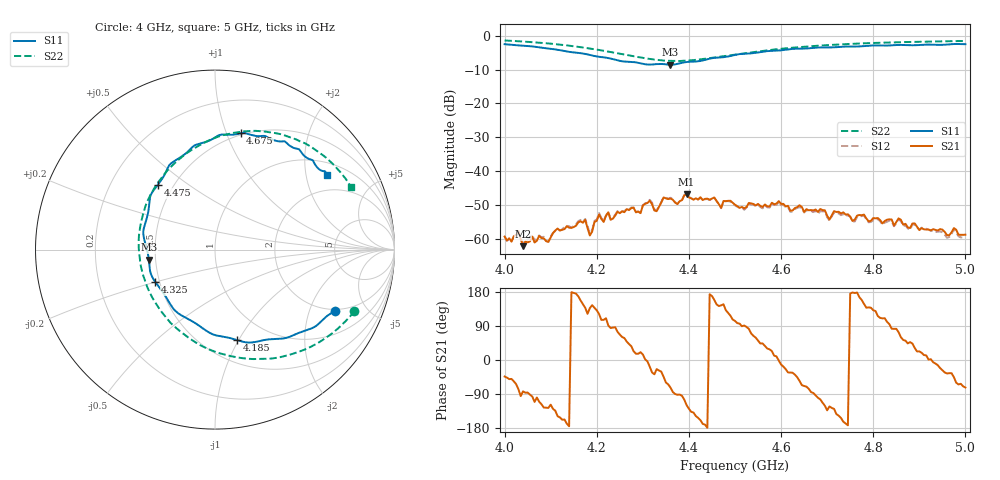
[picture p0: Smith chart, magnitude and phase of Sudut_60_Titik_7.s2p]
# Hz S RI R 50
! CMT, C1220, 16058040, 17.2.0/1
! Date: 15/08/2018 12:01:00
! Data: Format (Calibration Info)
! Freq  S11: Re/Im (F2)  S21: Re/Im (F2)  S12: Re/Im (F2)  S22: Re/Im (F2)
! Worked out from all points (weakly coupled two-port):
!   201 points, 4 GHz to 5 GHz, reference 50 ohm
!   highest |S21| = -46.77 dB at 4.395 GHz (marker M1); lowest = -62.1 dB at 4.04 GHz (marker M2)
!   lowest |S11| = -8.6 dB at 4.36 GHz (marker M3), VSWR 2.19, Z = 23 - j2.97 ohm
!   |S11| at or under -10 dB: nowhere
!   |S22| runs from -7.5 to -1.4 dB; largest |S21 - S12| = 0.00021
!   S11 on the Smith chart (normalised r, x): 4 GHz: 1.94, -2.99; 4.185 GHz: 0.71, -0.99; 4.325 GHz: 0.47, -0.20; 4.475 GHz: 0.41, +0.39; 4.675 GHz: 0.48, +1.12; 5 GHz: 1.41, +2.64
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4e9  0.666 -0.3404  0.000792 -0.000754  0.000837 -0.000717  0.7767 -0.3427
4.015e9  0.6387 -0.3601  0.000592 -0.000703  0.000625 -0.0007  0.7489 -0.376
4.03e9  0.606 -0.3863  0.000291 -0.00129  0.000352 -0.00126  0.7189 -0.4074
4.04e9  0.5835 -0.4078  9.97e-05 -0.000782  0.000152 -0.000856  0.6967 -0.4287
4.095e9  0.4327 -0.479  -0.000544 -0.000737  -0.000528 -0.00074  0.5522 -0.532
4.17e9  0.1724 -0.5167  -0.00147 0.000946  -0.00157 0.000907  0.2776 -0.6083
4.185e9  0.1234 -0.5046  -0.000827 0.000774  -0.000892 0.000822  0.215 -0.6099
4.205e9  0.0463 -0.4855  -0.0012 0.00198  -0.00122 0.0021  0.1278 -0.6012
4.295e9  -0.2532 -0.298  0.00226 0.00085  0.00231 0.000878  -0.2477 -0.4081
4.315e9  -0.3043 -0.2183  0.00351 -0.00112  0.00364 -0.0011  -0.31 -0.3298
4.325e9  -0.3317 -0.1819  0.0021 -0.00162  0.00217 -0.00164  -0.3373 -0.2877
4.335e9  -0.3512 -0.1493  0.00264 -0.00138  0.00263 -0.00145  -0.3624 -0.2416
4.36e9  -0.3685 -0.0558  0.00118 -0.00379  0.0011 -0.00393  -0.4067 -0.1193
4.395e9  -0.3994 0.0869  -0.00224 -0.004  -0.00238 -0.00395  -0.4251 0.0548
4.475e9  -0.3192 0.3601  -0.00307 0.00199  -0.00297 0.00202  -0.3022 0.3941
4.5e9  -0.2674 0.4453  -0.000735 0.00313  -0.000705 0.00307  -0.238 0.4689
4.67e9  0.1325 0.6459  0.000133 -0.00265  0.000109 -0.0025  0.2389 0.6607
4.675e9  0.1425 0.6486  -0.000155 -0.00274  -0.000156 -0.00262  0.2513 0.6601
4.705e9  0.1991 0.6397  -0.00104 -0.00164  -0.00102 -0.00157  0.3259 0.6503
4.715e9  0.2264 0.6335  -0.00163 -0.00201  -0.00159 -0.0019  0.3501 0.6465
4.835e9  0.437 0.5672  -0.000157 0.00196  -0.00018 0.00187  0.5752 0.5452
5e9  0.6233 0.4133  0.000346 -0.00111  0.000355 -0.001  0.7593 0.3479
